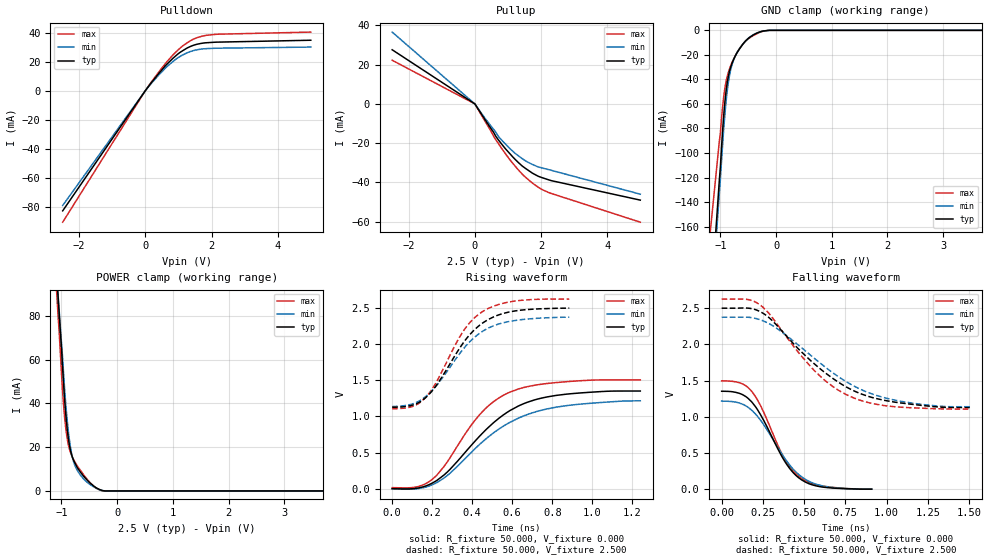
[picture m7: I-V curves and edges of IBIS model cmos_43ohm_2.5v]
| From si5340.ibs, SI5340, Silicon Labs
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[Model]   cmos_43ohm_2.5v
Model_type 3-state
Vref=0.000E+00
Rref=1.000E+06
Cref=5.000E-12
Vmeas=1.250E+00
C_comp   1.210E-12   1.190E-12   1.240E-12
[Voltage Range]   2.500E+00   2.375E+00   2.625E+00
[POWER Clamp Reference]   2.500E+00   2.375E+00   2.625E+00
[GND Clamp Reference]   0.000E+00   0.000E+00   0.000E+00
[Pullup Reference]   2.500E+00   2.375E+00   2.625E+00
[Pulldown Reference]   0.000E+00   0.000E+00   0.000E+00
[Temperature Range]   25   85   -40
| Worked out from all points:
|   slope of the pulldown table from 0 to 0.375 V, typ, clamps not added: 34.2 ohm
|   slope of the pullup table from 0 to 0.375 V, typ, clamps not added: 38.4 ohm
|   GND clamp passes 1 mA (typ) near -0.27 V on its own axis
|   POWER clamp passes 1 mA (typ) near -0.34 V on its own axis
|   rising waveform, R_fixture 50.000, V_fixture 0.000: 20-80 % time 299ps typ, 328ps min, 247ps max; typ from 0 V to 1.35 V
|   falling waveform, R_fixture 50.000, V_fixture 0.000: 20-80 % time 197ps typ, 219ps min, 191ps max; typ from 1.35 V to 0 V
|   rising waveform, R_fixture 50.000, V_fixture 2.500: 20-80 % time 208ps typ, 217ps min, 189ps max; typ from 1.13 V to 2.5 V
|   falling waveform, R_fixture 50.000, V_fixture 2.500: 20-80 % time 414ps typ, 447ps min, 356ps max; typ from 2.5 V to 1.13 V
[GND Clamp]
-2.5V     -1.099A    -1.104A    -762.5mA
-1.02V    -123mA     -133.6mA   -91.11mA
-960mV    -81.75mA   -93.32mA   -62.3mA
-920mV    -58.83mA   -69.08mA   -47.33mA
-880mV    -43.56mA   -50.62mA   -37.98mA
-820mV    -30.73mA   -33.23mA   -29.44mA
-760mV    -23.52mA   -23.93mA   -23.21mA
-660mV    -15.33mA   -15.26mA   -15.07mA
-500mV    -6.654mA   -6.493mA   -6.914mA
-340mV    -2.17mA    -2.114mA   -2.612mA
-120mV    0A         0A         0A
5V        0A         0A         0A
[Power Clamp]
-2.5V     658.6mA    605.6mA    683.4mA
-1.06V    88.83mA    89.31mA    80.04mA
-1V       65.86mA    68.03mA    54.19mA
-980mV    56.93mA    61.25mA    45.88mA
-940mV    40.78mA    45.63mA    32.89mA
-900mV    29.06mA    33.28mA    24.46mA
-840mV    18.75mA    20.28mA    17.76mA
-780mV    13.94mA    13.24mA    14.23mA
-700mV    10.1mA     8.727mA    10.86mA
-520mV    4.464mA    3.564mA    4.783mA
-320mV    704.5uA    588.7uA    503.4uA
5V        0A         0A         0A
[Pullup]
-2.5V     27.6mA     36.61mA    22.25mA
0V        0A         0A         0A
300mV     -7.878mA   -7.21mA    -8.627mA
600mV     -15.51mA   -13.73mA   -17.46mA
720mV     -18.56mA   -16.77mA   -20.41mA
800mV     -20.28mA   -18.3mA    -22.44mA
1.18V     -27.64mA   -24.67mA   -30.98mA
1.42V     -31.49mA   -27.76mA   -35.59mA
1.54V     -32.99mA   -29.12mA   -37.54mA
1.9V      -36.76mA   -32.04mA   -42.31mA
2.24V     -38.75mA   -33.55mA   -45.24mA
5V        -49.05mA   -46.02mA   -60.3mA
[Pulldown]
-2.5V     -82.99mA   -79.3mA    -90.82mA
0V        0A         0A         0A
620mV     17.51mA    15.87mA    19.11mA
840mV     22.42mA    20.21mA    24.73mA
1.12V     27.4mA     24.48mA    30.67mA
1.46V     31.3mA     27.63mA    35.56mA
1.86V     33.02mA    28.96mA    38.18mA
2.2V      33.43mA    29.24mA    38.89mA
5V        34.72mA    30mA       40.35mA
[Rising Waveform]
R_fixture = 50.000
V_fixture = 0.000
V_fixture_min = 0.000
V_fixture_max = 0.000
|  time   V(typ)   V(min)   V(max)
0s        0V         0V         14.85mV
120ps     5.764mV    -1.269mV   24.28mV
200ps     77.26mV    54mV       129.3mV
290ps     271mV      216.8mV    432.3mV
440ps     736.4mV    621mV      1.034V
510ps     922.4mV    780.4mV    1.213V
585ps     1.076V     913.9mV    1.333V
680ps     1.201V     1.032V     1.416V
810ps     1.288V     1.124V     1.467V
1.24ns    1.353V     1.217V     1.507V
[Falling Waveform]
R_fixture = 50.000
V_fixture = 0.000
V_fixture_min = 0.000
V_fixture_max = 0.000
|  time   V(typ)   V(min)   V(max)
0s        1.353V     1.217V     1.496V
115ps     1.317V     1.184V     1.464V
185ps     1.198V     1.085V     1.344V
240ps     1.012V     940mV      1.135V
380ps     394.9mV    435.1mV    427.1mV
425ps     251.1mV    299mV      275.5mV
480ps     136.3mV    179.2mV    157.1mV
555ps     55.99mV    83.02mV    73.64mV
635ps     23.03mV    34.65mV    35.59mV
910ps     0V         0V         0V
[Rising Waveform]
R_fixture = 50.000
V_fixture = 2.500
V_fixture_min = 2.375
V_fixture_max = 2.625
|  time   V(typ)   V(min)   V(max)
0s        1.128V     1.139V     1.107V
100ps     1.156V     1.173V     1.138V
165ps     1.256V     1.27V      1.257V
220ps     1.428V     1.423V     1.472V
355ps     2.018V     1.933V     2.18V
405ps     2.184V     2.081V     2.35V
455ps     2.299V     2.185V     2.458V
525ps     2.399V     2.274V     2.544V
605ps     2.457V     2.325V     2.594V
885ps     2.5V       2.375V     2.625V
[Falling Waveform]
R_fixture = 50.000
V_fixture = 2.500
V_fixture_min = 2.375
V_fixture_max = 2.625
|  time   V(typ)   V(min)   V(max)
0s        2.5V       2.375V     2.625V
155ps     2.501V     2.375V     2.621V
235ps     2.451V     2.339V     2.542V
345ps     2.238V     2.205V     2.253V
565ps     1.726V     1.802V     1.632V
670ps     1.536V     1.614V     1.425V
780ps     1.383V     1.452V     1.28V
920ps     1.262V     1.309V     1.181V
1.07ns    1.196V     1.221V     1.135V
1.505ns   1.128V     1.139V     1.107V
[Ramp]
dV/dt_r   8.0699E-01/2.9880E-10   7.2512E-01/3.2712E-10   8.9505E-01/2.4719E-10
dV/dt_f   8.2323E-01/4.1355E-10   7.4179E-01/4.4645E-10   9.1107E-01/3.5587E-10
R_load = 50
